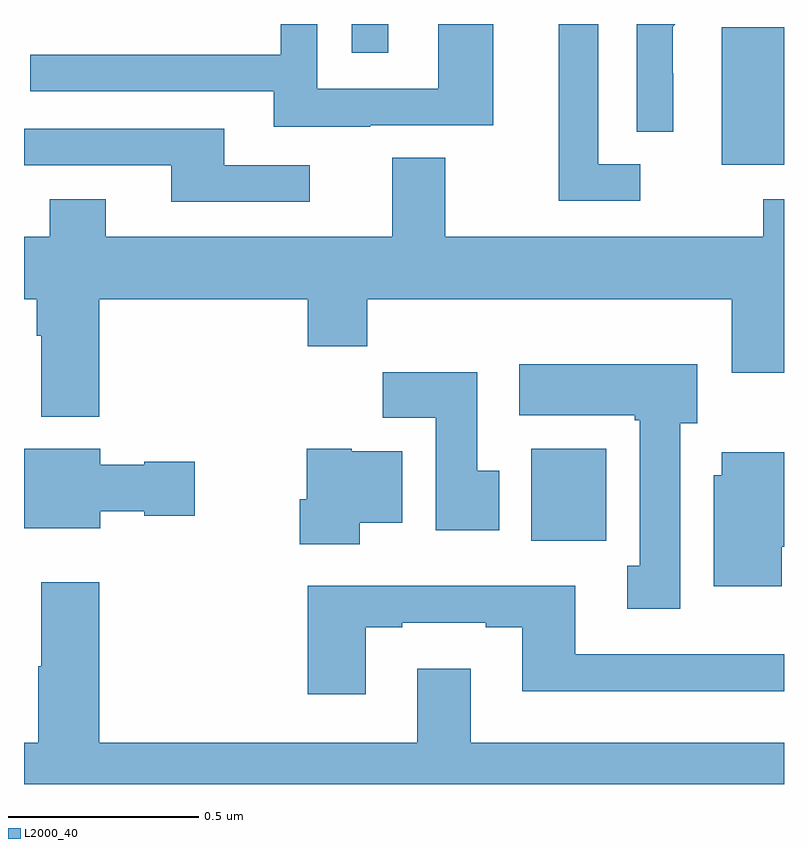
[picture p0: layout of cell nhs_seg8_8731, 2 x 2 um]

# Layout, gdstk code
import gdstk
lib = gdstk.Library(unit=1e-6, precision=1e-09)
def R(c, l, rs):  # rectangles x0, y0, x1, y1
    for r in rs: c.add(gdstk.rectangle(r[:2], r[2:], *l))
def P(c, l, *ps):  # polygons
    for p in ps: c.add(gdstk.Polygon(p, *l))
L2000_40 = (2000, 40)

nhs_seg8_8731 = lib.new_cell('nhs_seg8_8731')
R(nhs_seg8_8731, L2000_40, [(228.335,1106.54,228.532,1106.782), (228.836,1107.53,229,1107.891), (227.862,1107.825,227.959,1107.9)])
P(nhs_seg8_8731, L2000_40, [(228.622,1107.531),(228.511,1107.531),(228.511,1107.9),(228.407,1107.9),(228.407,1107.435),(228.622,1107.435)],
  [(227.911,1107.633),(228.235,1107.633),(228.235,1107.9),(228.09,1107.9),(228.09,1107.729),(227.772,1107.729),(227.772,1107.9),(227.676,1107.9),(227.676,1107.819),(227.017,1107.819),(227.017,1107.723),(227.657,1107.723),(227.657,1107.629),(227.911,1107.629)],
  [(228.708,1107.77),(228.707,1107.77),(228.707,1107.893),(228.714,1107.9),(228.612,1107.9),(228.612,1107.616),(228.708,1107.616)],
  [(227.752,1107.528),(227.527,1107.528),(227.527,1107.624),(227,1107.624),(227,1107.528),(227.387,1107.528),(227.387,1107.432),(227.752,1107.432)],
  [(227.198,1107.176),(227.747,1107.176),(227.747,1107.052),(227.903,1107.052),(227.903,1107.176),(228.863,1107.176),(228.863,1106.982),(229,1106.982),(229,1107.439),(228.946,1107.439),(228.946,1107.34),(228.109,1107.34),(228.109,1107.548),(227.969,1107.548),(227.969,1107.34),(227.215,1107.34),(227.215,1107.439),(227.068,1107.439),(227.068,1107.34),(227,1107.34),(227,1107.176),(227.033,1107.176),(227.033,1107.08),(227.045,1107.08),(227.045,1106.867),(227.198,1106.867)],
  [(228.727,1106.85),(228.772,1106.85),(228.772,1107.004),(228.303,1107.004),(228.303,1106.87),(228.607,1106.87),(228.607,1106.857),(228.62,1106.857),(228.62,1106.474),(228.587,1106.474),(228.587,1106.361),(228.727,1106.361)],
  [(228.25,1106.724),(228.193,1106.724),(228.193,1106.983),(227.944,1106.983),(227.944,1106.864),(228.083,1106.864),(228.083,1106.568),(228.25,1106.568)],
  [(227.2,1106.618),(227.316,1106.618),(227.316,1106.606),(227.449,1106.606),(227.449,1106.748),(227.316,1106.748),(227.316,1106.74),(227.2,1106.74),(227.2,1106.782),(227,1106.782),(227,1106.573),(227.2,1106.573)],
  [(227.884,1106.588),(227.995,1106.588),(227.995,1106.776),(227.862,1106.776),(227.862,1106.782),(227.744,1106.782),(227.744,1106.649),(227.726,1106.649),(227.726,1106.531),(227.884,1106.531)],
  [(228.994,1106.524),(229,1106.524),(229,1106.773),(228.836,1106.773),(228.836,1106.712),(228.815,1106.712),(228.815,1106.42),(228.994,1106.42)],
  [(229,1106.008),(228.175,1106.008),(228.175,1106.203),(228.035,1106.203),(228.035,1106.008),(227.198,1106.008),(227.198,1106.431),(227.045,1106.431),(227.045,1106.21),(227.038,1106.21),(227.038,1106.008),(227,1106.008),(227,1105.9),(229,1105.9)],
  [(227.899,1106.313),(227.995,1106.313),(227.995,1106.325),(228.215,1106.325),(228.215,1106.313),(228.311,1106.313),(228.311,1106.144),(229,1106.144),(229,1106.241),(228.451,1106.241),(228.451,1106.422),(227.747,1106.422),(227.747,1106.136),(227.899,1106.136)])

lib.write_gds('nhs_seg8_8731.gds')
